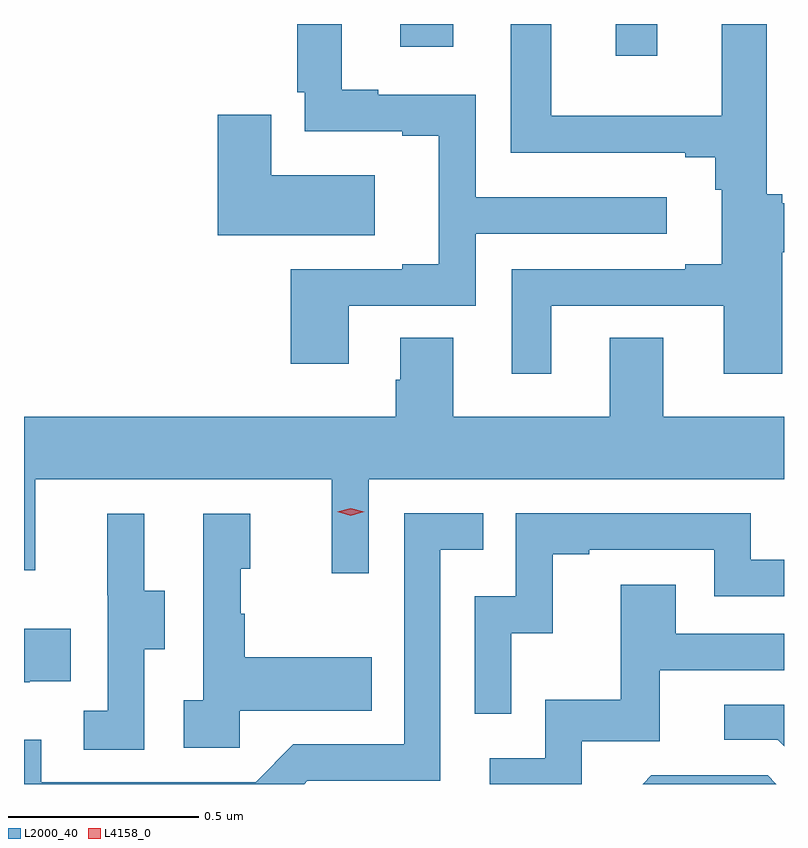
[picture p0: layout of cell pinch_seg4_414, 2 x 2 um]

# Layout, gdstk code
import gdstk
lib = gdstk.Library(unit=1e-6, precision=1e-09)
def R(c, l, rs):  # rectangles x0, y0, x1, y1
    for r in rs: c.add(gdstk.rectangle(r[:2], r[2:], *l))
def P(c, l, *ps):  # polygons
    for p in ps: c.add(gdstk.Polygon(p, *l))
L2000_40 = (2000, 40)
L4158_0 = (4158, 0)

pinch_seg4_414 = lib.new_cell('pinch_seg4_414')
R(pinch_seg4_414, L2000_40, [(999.779,791.274,999.889,791.358), (999.212,791.298,999.352,791.358)])
P(pinch_seg4_414, L2000_40, [(999.61,790.617),(1000.064,790.617),(1000.064,790.437),(1000.217,790.437),(1000.217,790.758),(1000.222,790.758),(1000.222,790.886),(1000.217,790.886),(1000.217,790.91),(1000.177,790.91),(1000.177,791.358),(1000.058,791.358),(1000.058,791.116),(999.61,791.116),(999.61,791.358),(999.503,791.358),(999.503,791.019),(999.962,791.019),(999.962,791.007),(1000.041,791.007),(1000.041,790.922),(1000.058,790.922),(1000.058,790.726),(999.962,790.726),(999.962,790.713),(999.506,790.713),(999.506,790.437),(999.61,790.437)],
  [(999.076,790.617),(999.411,790.617),(999.411,790.806),(999.913,790.806),(999.913,790.902),(999.411,790.902),(999.411,791.172),(999.154,791.172),(999.154,791.185),(999.058,791.185),(999.058,791.358),(998.941,791.358),(998.941,791.179),(998.961,791.179),(998.961,791.076),(999.218,791.076),(999.218,791.064),(999.314,791.064),(999.314,790.726),(999.218,790.726),(999.218,790.713),(998.924,790.713),(998.924,790.464),(999.076,790.464)],
  [(999.145,790.96),(998.872,790.96),(998.872,791.119),(998.732,791.119),(998.732,790.802),(999.145,790.802)],
  [(999.129,790.16),(1000.222,790.16),(1000.222,790.324),(999.904,790.324),(999.904,790.532),(999.764,790.532),(999.764,790.324),(999.352,790.324),(999.352,790.532),(999.212,790.532),(999.212,790.422),(999.2,790.422),(999.2,790.324),(998.222,790.324),(998.222,789.921),(998.251,789.921),(998.251,790.16),(999.032,790.16),(999.032,789.912),(999.129,789.912)],
  [(998.968,789.366),(999.318,789.366),(999.318,789.975),(999.431,789.975),(999.431,790.071),(999.222,790.071),(999.222,789.462),(998.931,789.462),(998.832,789.363),(998.268,789.363),(998.268,789.475),(998.222,789.475),(998.222,789.358),(998.96,789.358)],
  [(999.504,789.755),(999.614,789.755),(999.614,789.963),(999.709,789.963),(999.709,789.975),(1000.038,789.975),(1000.038,789.852),(1000.222,789.852),(1000.222,789.948),(1000.134,789.948),(1000.134,790.071),(999.516,790.071),(999.516,789.852),(999.408,789.852),(999.408,789.543),(999.504,789.543)],
  [(998.538,789.712),(998.593,789.712),(998.593,789.867),(998.539,789.867),(998.539,790.069),(998.441,790.069),(998.441,789.855),(998.442,789.855),(998.442,789.551),(998.379,789.551),(998.379,789.448),(998.538,789.448)],
  [(998.79,789.551),(999.137,789.551),(999.137,789.691),(998.803,789.691),(998.803,789.806),(998.793,789.806),(998.793,789.924),(998.818,789.924),(998.818,790.069),(998.694,790.069),(998.694,789.578),(998.643,789.578),(998.643,789.453),(998.79,789.453)],
  [(999.69,789.471),(999.895,789.471),(999.895,789.657),(1000.222,789.657),(1000.222,789.753),(999.937,789.753),(999.937,789.883),(999.793,789.883),(999.793,789.58),(999.594,789.58),(999.594,789.426),(999.447,789.426),(999.447,789.358),(999.69,789.358)],
  [(998.237,789.629),(998.345,789.629),(998.345,789.766),(998.222,789.766),(998.222,789.626),(998.237,789.626)],
  [(1000.222,789.567),(1000.065,789.567),(1000.065,789.474),(1000.206,789.474),(1000.222,789.458)],
  [(1000.179,789.381),(999.873,789.381),(999.85,789.358),(1000.202,789.358)])
P(pinch_seg4_414, L4158_0, [(999.082,790.064),(999.046,790.074),(999.046,790.074),(999.046,790.074),(999.082,790.084),(999.118,790.074),(999.118,790.074),(999.118,790.074)])

lib.write_gds('pinch_seg4_414.gds')
